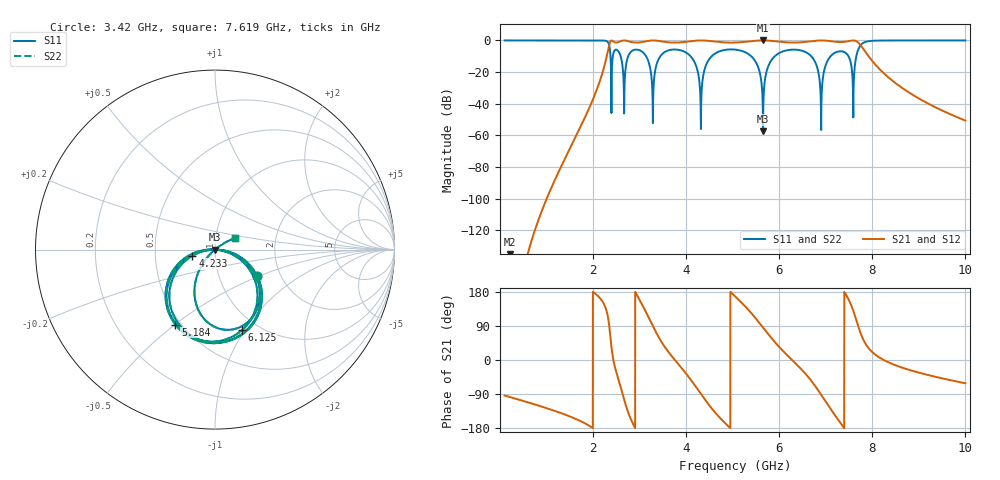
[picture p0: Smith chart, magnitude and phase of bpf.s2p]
! Simulation of a Chebyshev BPF, 5 GHz
# hz S ma R 50
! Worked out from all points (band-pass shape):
!   4301 points, 100 MHz to 10 GHz, reference 50 ohm
!   highest |S21| = 0.00 dB at 5.653 GHz (marker M1); lowest = -198.3 dB at 215.1 MHz (marker M2)
!   |S21| within 3 dB of the highest: 2.347 GHz to 7.749 GHz (5.402 GHz wide, 107 % of centre)
!   lowest |S11| = -57.5 dB at 5.653 GHz (marker M3), VSWR 1.00, Z = 50.1 - j0.0104 ohm
!   |S11| at or under -10 dB: 4.096 GHz to 4.548 GHz (451.9 MHz wide, 10.5 % of centre); 5.399 GHz to 5.904 GHz (505.3 MHz wide, 8.94 % of centre); 6.688 GHz to 7.103 GHz (414.9 MHz wide, 6.02 % of centre)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
!   |S22| runs from -57.5 to 0.0 dB; largest |S21 - S12| = 0
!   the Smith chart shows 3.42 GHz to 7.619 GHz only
!   S11 on the Smith chart (normalised r, x): 3.42 GHz: 1.52, -0.48; 4.233 GHz: 0.78, -0.05; 5.184 GHz: 0.47, -0.50; 6.125 GHz: 0.84, -0.97; 7.619 GHz: 1.24, +0.16
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1e8  1 -3.6  5.571e-13 -93.6  5.571e-13 -93.6  1 -3.6
2.151163e8  1 -7.7  1.21e-10 -97.7  1.21e-10 -97.7  1 -7.7
1.288e9  1 -49.1  8.596e-05 -139.1  8.596e-05 -139.1  1 -49.1
1.750767e9  1 -72.4  0.002141 -162.4  0.002141 -162.4  1 -72.4
2.388512e9  0.09834 132.2  0.9952 42.2  0.9952 42.2  0.09834 132.2
2.648674e9  0.08658 174.3  0.9962 -95.7  0.9962 -95.7  0.08658 174.3
2.977907e9  0.5037 -106.6  0.8639 163.4  0.8639 163.4  0.5037 -106.6
3.281814e9  0.008206 -179.5  1 90.5  1 90.5  0.008206 -179.5
3.401535e9  0.244 -27.8  0.9698 62.2  0.9698 62.2  0.244 -27.8
3.419953e9  0.2759 -31.8  0.9612 58.2  0.9612 58.2  0.2759 -31.8
4.232674e9  0.1302 -164.8  0.9915 -74.8  0.9915 -74.8  0.1302 -164.8
4.322465e9  0.008759 -0.5  1 -90.5  1 -90.5  0.008759 -0.5
5.05e9  0.5145 -101.7  0.8575 168.3  0.8575 168.3  0.5145 -101.7
5.183535e9  0.4726 -117.8  0.8813 152.2  0.8813 152.2  0.4726 -117.8
5.653209e9  0.001337 -4.4  1 85.6  1 85.6  0.001337 -4.4
6.125186e9  0.4737 -71.7  0.8807 18.3  0.8807 18.3  0.4737 -71.7
6.700767e9  0.3018 -146.7  0.9534 -56.7  0.9534 -56.7  0.3018 -146.7
6.896465e9  0.006432 179.1  1 -90.9  1 -90.9  0.006432 179.1
7.211884e9  0.4191 -57.9  0.9079 -147.9  0.9079 -147.9  0.4191 -57.9
7.619395e9  0.1311 29.7  0.9914 119.7  0.9914 119.7  0.1311 29.7
8.351535e9  0.9977 -96.4  0.06707 -6.4  0.06707 -6.4  0.9977 -96.4
1e10  1 -151.4  0.002943 -61.4  0.002943 -61.4  1 -151.4
